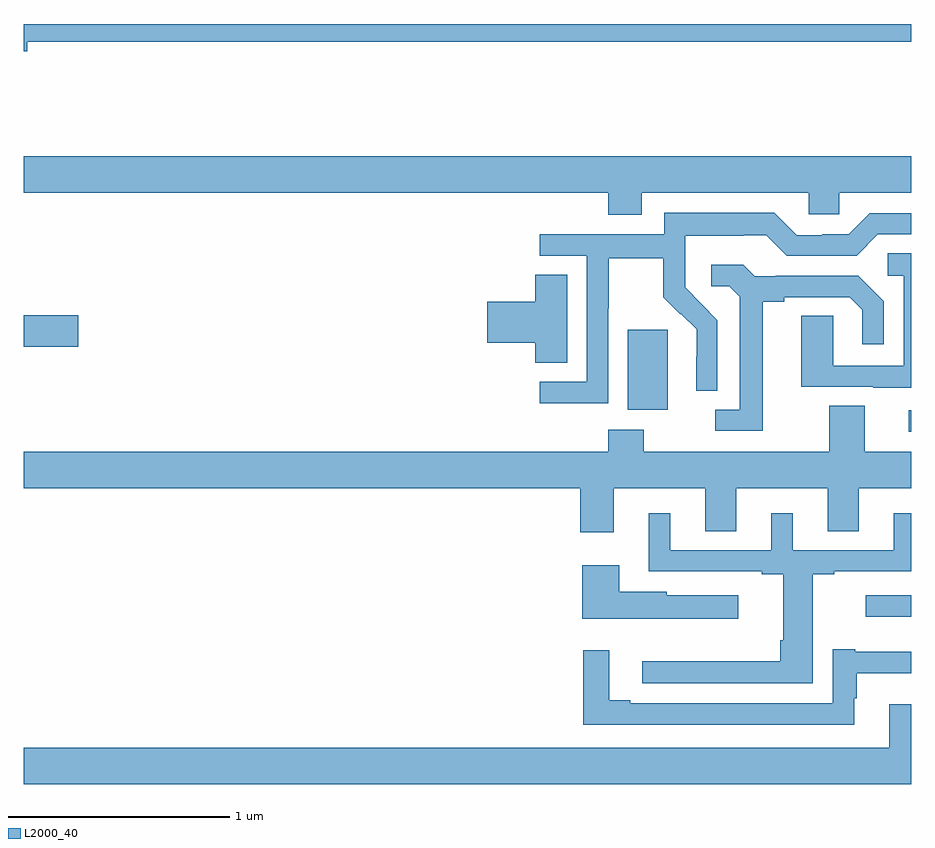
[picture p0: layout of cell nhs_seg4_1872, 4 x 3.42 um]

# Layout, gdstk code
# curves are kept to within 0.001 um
import gdstk
lib = gdstk.Library(unit=1e-6, precision=1e-09)
def R(c, l, rs):  # rectangles x0, y0, x1, y1
    for r in rs: c.add(gdstk.rectangle(r[:2], r[2:], *l))
def P(c, l, *ps):  # polygons
    for p in ps: c.add(gdstk.Polygon(p, *l))
L2000_40 = (2000, 40)

nhs_seg4_1872 = lib.new_cell('nhs_seg4_1872')
R(nhs_seg4_1872, L2000_40, [(210.795,808.229,211,808.326), (210.987,809.064,211,809.16), (209.723,809.162,209.902,809.523), (207,809.446,207.247,809.588)])
P(nhs_seg4_1872, L2000_40, [(207.016,810.82),(211,810.82),(211,810.9),(207,810.9),(207,810.778),(207.016,810.778)],
  [(209.785,810.14),(210.537,810.14),(210.537,810.042),(210.675,810.042),(210.675,810.14),(211,810.14),(211,810.304),(207,810.304),(207,810.14),(209.633,810.14),(209.633,810.041),(209.785,810.041)],
  [(209.634,809.62),(209.637,809.62),(209.637,809.844),(209.881,809.844),(209.881,809.669),(209.958,809.592),(209.961,809.595),(210.032,809.525),(210.032,809.402),(210.03,809.402),(210.03,809.248),(210.126,809.248),(210.126,809.566),(209.98,809.714),(209.98,809.811),(209.982,809.811),(209.982,809.945),(210.245,809.945),(210.245,809.949),(210.345,809.949),(210.438,809.856),(210.753,809.856),(210.849,809.952),(211,809.952),(211,810.048),(210.813,810.048),(210.717,809.952),(210.599,809.952),(210.599,809.949),(210.483,809.949),(210.383,810.049),(209.886,810.049),(209.886,809.952),(209.325,809.952),(209.325,809.856),(209.538,809.856),(209.538,809.289),(209.325,809.289),(209.325,809.191),(209.634,809.191)],
  [(211,809.867),(210.894,809.867),(210.894,809.766),(210.966,809.766),(210.966,809.361),(210.648,809.361),(210.648,809.585),(210.503,809.585),(210.503,809.265),(210.827,809.265),(210.827,809.261),(211,809.261)],
  [(210.331,809.648),(210.427,809.648),(210.427,809.67),(210.722,809.67),(210.779,809.613),(210.779,809.457),(210.876,809.457),(210.876,809.65),(210.76,809.766),(210.388,809.766),(210.388,809.763),(210.294,809.763),(210.242,809.815),(210.099,809.815),(210.099,809.718),(210.18,809.718),(210.227,809.671),(210.227,809.163),(210.117,809.163),(210.117,809.067),(210.331,809.067)],
  [(209.449,809.771),(209.306,809.771),(209.306,809.648),(209.088,809.648),(209.088,809.465),(209.306,809.465),(209.306,809.374),(209.449,809.374)],
  [(209.659,808.808),(210.071,808.808),(210.071,808.615),(210.211,808.615),(210.211,808.808),(210.623,808.808),(210.623,808.615),(210.763,808.615),(210.763,808.808),(211,808.808),(211,808.972),(210.79,808.972),(210.79,809.18),(210.629,809.18),(210.629,808.972),(209.793,808.972),(209.793,809.071),(209.633,809.071),(209.633,808.972),(207,808.972),(207,808.808),(209.507,808.808),(209.507,808.611),(209.659,808.611)],
  [(210.556,808.422),(210.652,808.422),(210.652,808.434),(211,808.434),(211,808.696),(210.92,808.696),(210.92,808.53),(210.466,808.53),(210.466,808.696),(210.368,808.696),(210.368,808.53),(209.914,808.53),(209.914,808.696),(209.816,808.696),(209.816,808.434),(210.326,808.434),(210.326,808.422),(210.422,808.422),(210.422,808.123),(210.41,808.123),(210.41,808.028),(209.787,808.028),(209.787,807.93),(210.556,807.93)],
  [(210.22,808.327),(209.898,808.327),(209.898,808.342),(209.683,808.342),(209.683,808.462),(209.516,808.462),(209.516,808.22),(210.22,808.22)],
  [(210.742,807.863),(210.754,807.863),(210.754,807.974),(211,807.974),(211,808.072),(210.748,808.072),(210.748,808.084),(210.645,808.084),(210.645,807.84),(209.734,807.84),(209.734,807.853),(209.638,807.853),(209.638,808.078),(209.521,808.078),(209.521,807.744),(210.742,807.744)],
  [(211,807.835),(210.899,807.835),(210.899,807.64),(207,807.64),(207,807.476),(211,807.476)])

lib.write_gds('nhs_seg4_1872.gds')
